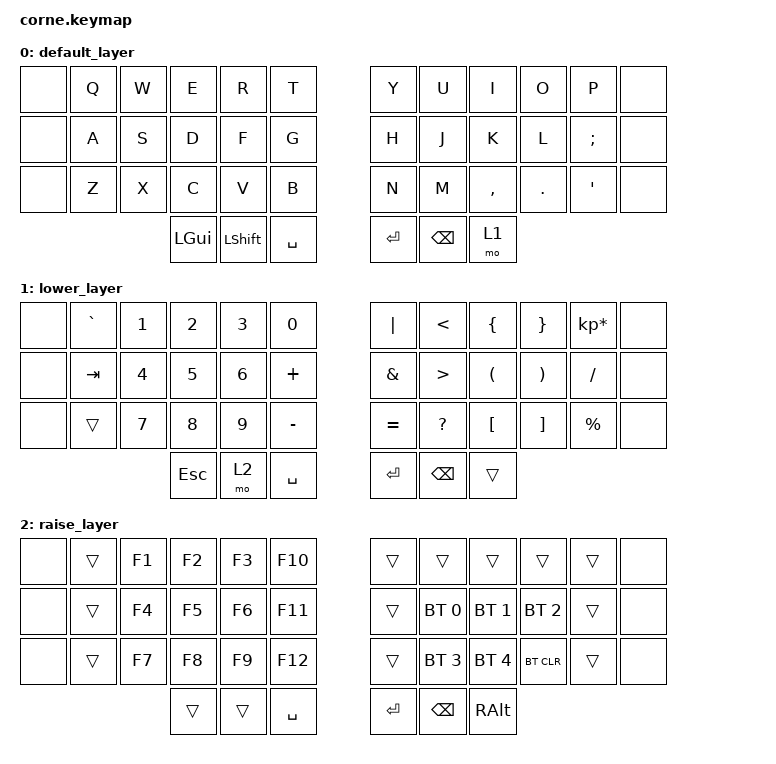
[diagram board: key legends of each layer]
/*
 * Copyright (c) 2020 The ZMK Contributors
 *
 * SPDX-License-Identifier: MIT
 */

#include <behaviors.dtsi>
#include <dt-bindings/zmk/bt.h>
#include <dt-bindings/zmk/keys.h>

/ {
    combos {
        compatible = "zmk,combos";

        control {
            bindings = <&kp LEFT_CONTROL>;
            key-positions = <16 17>;
            timeout-ms = <30>;
            require-prior-idle-ms = <0>;
            layers = <0>;
        };

        quick_slash {
            bindings = <&kp SLASH>;
            key-positions = <16 29>;
            timeout-ms = <30>;
            layers = <0>;
        };
    };

    keymap {
        compatible = "zmk,keymap";

        default_layer {
            bindings = <
                &none  &kp Q  &kp W  &kp E     &kp R     &kp T        &kp Y     &kp U     &kp I      &kp O    &kp P     &none
                &none  &kp A  &kp S  &kp D     &kp F     &kp G        &kp H     &kp J     &kp K      &kp L    &kp SEMI  &none
                &none  &kp Z  &kp X  &kp C     &kp V     &kp B        &kp N     &kp M     &kp COMMA  &kp DOT  &kp SQT   &none
                                     &kp LGUI  &kp LSHFT &kp SPACE    &kp RET   &kp BSPC  &mo 1
            >;
        };

        lower_layer {
            bindings = <
&none  &kp GRAVE  &kp NUMBER_1  &kp NUMBER_2  &kp NUMBER_3  &kp NUMBER_0    &kp PIPE   &kp LESS_THAN     &kp LBRC  &kp RBRC  &kp KP_MULTIPLY  &none
&none  &kp TAB    &kp NUMBER_4  &kp NUMBER_5  &kp NUMBER_6  &kp PLUS        &kp AMPS   &kp GREATER_THAN  &kp LPAR  &kp RPAR  &kp SLASH        &none
&none  &trans     &kp NUMBER_7  &kp NUMBER_8  &kp NUMBER_9  &kp MINUS       &kp EQUAL  &kp QUESTION      &kp LBKT  &kp RBKT  &kp PERCENT      &none
                                &kp ESC       &mo 2         &kp SPACE       &kp RET    &kp BSPC          &trans
            >;
        };

        raise_layer {
            bindings = <
&none  &trans  &kp F1  &kp F2  &kp F3  &kp F10      &trans   &trans        &trans        &trans        &trans  &none
&none  &trans  &kp F4  &kp F5  &kp F6  &kp F11      &trans   &bt BT_SEL 0  &bt BT_SEL 1  &bt BT_SEL 2  &trans  &none
&none  &trans  &kp F7  &kp F8  &kp F9  &kp F12      &trans   &bt BT_SEL 3  &bt BT_SEL 4  &bt BT_CLR    &trans  &none
                       &trans  &trans  &kp SPACE    &kp RET  &kp BSPC      &kp RALT
            >;
        };
    };
};
